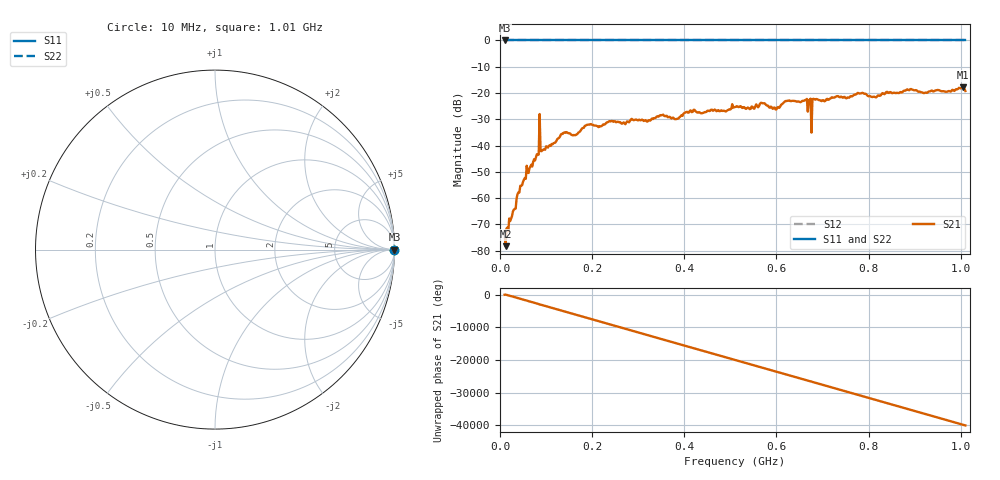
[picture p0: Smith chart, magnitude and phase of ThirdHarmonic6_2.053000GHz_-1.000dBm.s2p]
! 8/17/2025 12:36:46 AM
! C:\ANRITSUVNA\TEMP\TEMP.S2P
! CHANNEL.1
! TR.MEASUREMENT
! RAW.DATA
! RF.CORRECTION.OFF
! AVERAGING.OFF
! IF.BANDWIDTH: 5KHZ
! SWEEPTYPE:  FREQ.SWEEP(Linear)
! Reference Plane Port Info
! PORT:  PORT1  PORT2
! DISTANCE:  0  m  0  m
! TIME:  0  s  0  s
! PHASE.OFFSET:  0  deg.  0  deg.
! LOSS:  0  dB  0  dB
! REF.LOSS:  0  dB  0  dB
! REF.FREQ:  0  Hz  0  Hz
! Power Info
! POWER:  -20  dBm  -20  dBm
! EFF.POWER:  -20  dBm  -20  dBm
! SOURCE.ATTEN:  0  dB  0  dB
! TEST.ATTEN:  0  dB  0  dB
# GHZ S RI R 50.0
! FREQ.GHZ  S11RE  S11IM  S21RE  S21IM  S12RE  S12IM  S22RE  S22IM
!; PortSelection: Port_12
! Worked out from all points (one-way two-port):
!   501 points, 10 MHz to 1.01 GHz, reference 50 ohm
!   highest |S21| = -17.83 dB at 1.004 GHz (marker M1); lowest = -78.3 dB at 12 MHz (marker M2)
!   lowest |S11| = 0.0 dB at 10 MHz (marker M3)
!   |S11| at or under -10 dB: nowhere
!   |S22| runs from 0.0 to 0.0 dB; largest |S21 - S12| = 1.1
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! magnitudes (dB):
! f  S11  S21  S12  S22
! 10 MHz  0.0  -72.6  0.0  0.0
! 12 MHz  0.0  -78.3  0.0  0.0
! 42 MHz  0.0  -57.9  0.0  0.0
! 80 MHz  0.0  -43.3  0.0  0.0
! 84 MHz  0.0  -43.4  0.0  0.0
! 90 MHz  0.0  -42.2  0.0  0.0
! 94 MHz  0.0  -41.6  0.0  0.0
! 136 MHz  0.0  -35.6  0.0  0.0
! 178 MHz  0.0  -33.5  0.0  0.0
! 344 MHz  0.0  -29.0  0.0  0.0
! 382 MHz  0.0  -30.0  0.0  0.0
! 510 MHz  0.0  -25.4  0.0  0.0
! 570 MHz  0.0  -23.9  0.0  0.0
! 596 MHz  0.0  -25.5  0.0  0.0
! 662 MHz  0.0  -22.7  0.0  0.0
! 670 MHz  0.0  -22.7  0.0  0.0
! 672 MHz  0.0  -22.6  0.0  0.0
! 678 MHz  0.0  -22.4  0.0  0.0
! 682 MHz  0.0  -22.3  0.0  0.0
! 844 MHz  0.0  -20.0  0.0  0.0
! 1.004 GHz  0.0  -17.8  0.0  0.0
! 1.01 GHz  0.0  -19.2  0.0  0.0
